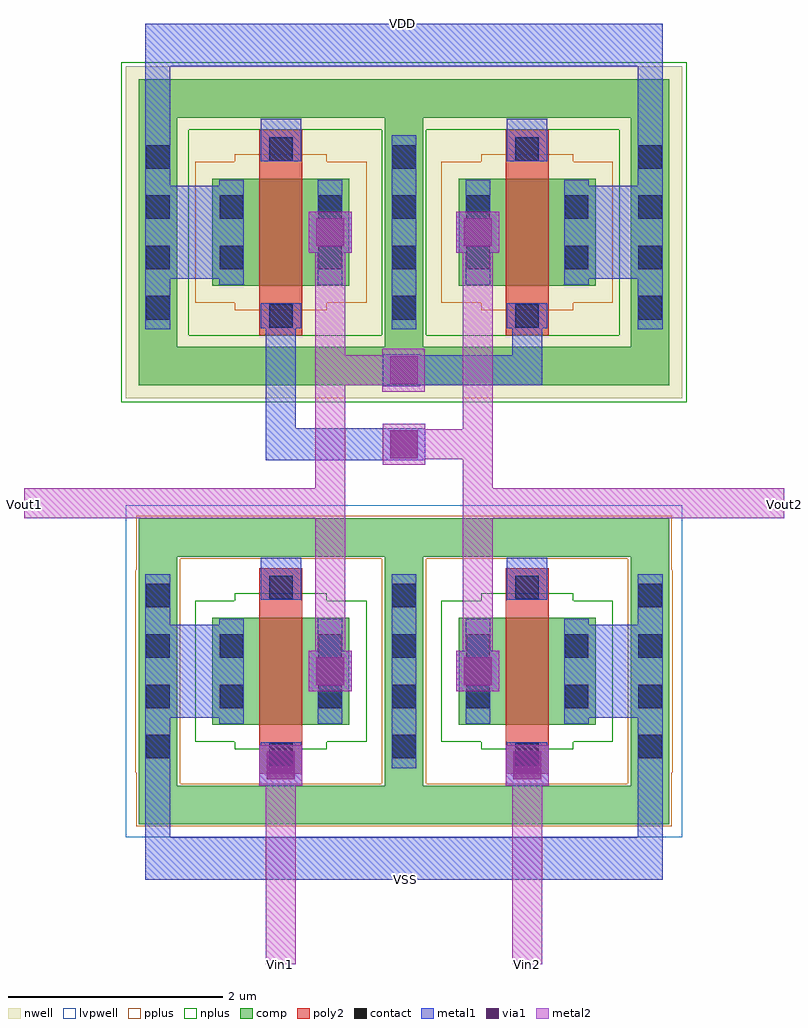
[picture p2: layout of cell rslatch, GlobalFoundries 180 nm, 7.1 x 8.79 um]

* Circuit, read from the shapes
.subckt rslatch VDD VSS Vin1 Vin2 Vout1 Vout2
XM1 Vout1 Vin1 VSS VSS nfet_03v3 w=1u l=0.4u
XM2 VSS Vin2 Vout2 VSS nfet_03v3 w=1u l=0.4u
XM3 Vout1 Vout2 VDD VDD pfet_03v3 w=1u l=0.4u
XM4 VDD Vout1 Vout2 VDD pfet_03v3 w=1u l=0.4u
.ends

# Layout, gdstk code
import gdstk
lib = gdstk.Library(unit=1e-6, precision=1e-09)
def R(c, l, rs):  # rectangles x0, y0, x1, y1
    for r in rs: c.add(gdstk.rectangle(r[:2], r[2:], *l))
def A(c, l, x, y, w, h, nx, ny, dx, dy):  # array of equal rectangles
    R(c, l, [(x+i*dx, y+j*dy, x+i*dx+w, y+j*dy+h) for i in range(nx) for j in range(ny)])
nwell = (21, 0)
comp = (22, 0)
poly2 = (30, 0)
pplus = (31, 0)
nplus = (32, 0)
contact = (33, 0)
metal1 = (34, 0)
via1 = (35, 0)
metal2 = (36, 0)
lvpwell = (204, 0)

rslatch = lib.new_cell('rslatch')
R(rslatch, nwell, [(10.3,-5.6,15.5,-2.5)])
A(rslatch, comp, 10.42, -9.22, 0.36, 2.14, 3, 2, 2.3, 4.1)
R(rslatch, comp, [(10.42,-9.58,15.38,-9.22), (11.11,-8.65,12.39,-7.65), (13.41,-8.65,14.69,-7.65), (10.42,-7.08,15.38,-6.72), (10.42,-5.48,15.38,-5.12), (11.11,-4.55,12.39,-3.55), (13.41,-4.55,14.69,-3.55), (10.42,-2.98,15.38,-2.62)])
R(rslatch, poly2, [(11.55,-9.11,11.95,-7.19), (13.85,-9.11,14.25,-7.19), (11.55,-5.01,11.95,-3.09), (13.85,-5.01,14.25,-3.09)])
R(rslatch, pplus, [(10.4,-9.6,15.4,-9.2), (10.4,-9.2,10.81,-9.095), (12.69,-9.2,13.11,-7.1), (14.99,-9.2,15.4,-9.095), (10.39,-9.095,10.81,-7.205), (14.99,-9.095,15.41,-7.205), (10.4,-7.205,10.81,-7.1), (14.99,-7.205,15.4,-7.1), (10.4,-7.1,15.4,-6.7), (11.32,-4.78,12.18,-4.71), (13.62,-4.78,14.48,-4.71), (10.95,-4.71,12.55,-3.39), (13.25,-4.71,14.85,-3.39), (11.32,-3.39,12.18,-3.32), (13.62,-3.39,14.48,-3.32)])
R(rslatch, nplus, [(11.32,-8.88,12.18,-8.81), (13.62,-8.88,14.48,-8.81), (10.95,-8.81,12.55,-7.49), (13.25,-8.81,14.85,-7.49), (11.32,-7.49,12.18,-7.42), (13.62,-7.49,14.48,-7.42), (10.26,-5.64,15.54,-5.01), (10.26,-5.01,10.89,-3.09), (12.69,-5.01,13.11,-3.09), (14.91,-5.01,15.54,-3.09), (10.26,-3.09,15.54,-2.46)])
A(rslatch, contact, 10.49, -8.965, 0.22, 0.22, 3, 2, 2.3, 1.41)
A(rslatch, contact, 12.1, -8.495, 0.22, 0.22, 3, 2, 0.69, 0.47)
A(rslatch, contact, 10.49, -4.865, 0.22, 0.22, 3, 2, 2.3, 1.41)
A(rslatch, contact, 12.1, -4.395, 0.22, 0.22, 3, 2, 0.69, 0.47)
R(rslatch, contact, [(11.64,-9.04,11.86,-8.82), (13.94,-9.04,14.16,-8.82), (10.49,-8.495,10.71,-8.275), (11.18,-8.495,11.4,-8.275), (14.4,-8.495,14.62,-8.275), (15.09,-8.495,15.31,-8.275), (10.49,-8.025,10.71,-7.805), (11.18,-8.025,11.4,-7.805), (14.4,-8.025,14.62,-7.805), (15.09,-8.025,15.31,-7.805), (11.64,-7.48,11.86,-7.26), (13.94,-7.48,14.16,-7.26), (11.64,-4.94,11.86,-4.72), (13.94,-4.94,14.16,-4.72), (10.49,-4.395,10.71,-4.175), (11.18,-4.395,11.4,-4.175), (14.4,-4.395,14.62,-4.175), (15.09,-4.395,15.31,-4.175), (10.49,-3.925,10.71,-3.705), (11.18,-3.925,11.4,-3.705), (14.4,-3.925,14.62,-3.705), (15.09,-3.925,15.31,-3.705), (11.64,-3.38,11.86,-3.16), (13.94,-3.38,14.16,-3.16)])
R(rslatch, metal1, [(10.485,-10.1,15.315,-9.7), (10.485,-9.7,10.715,-8.585), (15.085,-9.7,15.315,-8.585), (11.55,-9.22,11.95,-8.84), (13.85,-9.22,14.25,-8.84), (12.785,-9.055,13.015,-7.245), (11.56,-8.84,11.94,-8.815), (13.86,-8.84,14.24,-8.815), (11.175,-8.64,11.405,-8.585), (12.095,-8.64,12.325,-8.34), (13.475,-8.64,13.705,-8.34), (14.395,-8.64,14.625,-8.585), (10.485,-8.585,11.405,-7.715), (14.395,-8.585,15.315,-7.715), (12.01,-8.34,12.41,-7.96), (13.39,-8.34,13.79,-7.96), (12.095,-7.96,12.325,-7.66), (13.475,-7.96,13.705,-7.66), (10.485,-7.715,10.715,-7.245), (11.175,-7.715,11.405,-7.66), (14.395,-7.715,14.625,-7.66), (15.085,-7.715,15.315,-7.245), (11.56,-7.485,11.94,-7.09), (13.86,-7.485,14.24,-7.09), (11.61,-6.18,13.1,-5.88), (11.61,-5.88,11.89,-4.945), (12.7,-5.49,13.05,-5.48), (12.7,-5.48,14.19,-5.2), (12.7,-5.2,13.05,-5.19), (13.91,-5.2,14.19,-4.945), (10.485,-4.955,10.715,-4.485), (12.785,-4.955,13.015,-3.145), (15.085,-4.955,15.315,-4.485), (11.56,-4.945,11.94,-4.715), (13.86,-4.945,14.24,-4.715), (11.175,-4.54,11.405,-4.485), (12.095,-4.54,12.325,-4.24), (13.475,-4.54,13.705,-4.24), (14.395,-4.54,14.625,-4.485), (10.485,-4.485,11.405,-3.615), (14.395,-4.485,15.315,-3.615), (12.01,-4.24,12.41,-3.86), (13.39,-4.24,13.79,-3.86), (12.095,-3.86,12.325,-3.56), (13.475,-3.86,13.705,-3.56), (10.485,-3.615,10.715,-2.5), (11.175,-3.615,11.405,-3.56), (14.395,-3.615,14.625,-3.56), (15.085,-3.615,15.315,-2.5), (11.56,-3.385,11.94,-2.99), (13.86,-3.385,14.24,-2.99), (10.485,-2.5,15.315,-2.1)])
R(rslatch, via1, [(11.62,-9.16,11.88,-8.9), (13.92,-9.16,14.18,-8.9), (12.08,-8.28,12.34,-8.02), (13.46,-8.28,13.72,-8.02), (12.77,-6.16,13.03,-5.9), (12.77,-5.47,13.03,-5.21), (12.08,-4.18,12.34,-3.92), (13.46,-4.18,13.72,-3.92)])
R(rslatch, metal2, [(11.61,-10.89,11.89,-9.22), (13.91,-10.89,14.19,-9.22), (11.55,-9.22,11.95,-8.84), (13.85,-9.22,14.25,-8.84), (12.01,-8.34,12.41,-7.96), (13.39,-8.34,13.79,-7.96), (12.07,-7.96,12.35,-6.72), (13.45,-7.96,13.73,-6.72), (9.35,-6.72,12.35,-6.44), (13.45,-6.72,16.45,-6.44), (12.07,-6.44,12.35,-5.48), (13.45,-6.44,13.73,-6.17), (12.7,-6.22,13.1,-6.17), (12.7,-6.17,13.73,-5.89), (12.7,-5.89,13.1,-5.84), (13.45,-5.89,13.73,-4.24), (12.695,-5.54,13.095,-5.48), (12.07,-5.48,13.095,-5.2), (12.07,-5.2,12.35,-4.24), (12.695,-5.2,13.095,-5.14), (12.01,-4.24,12.41,-3.86), (13.39,-4.24,13.79,-3.86)])
R(rslatch, lvpwell, [(10.3,-9.7,15.5,-6.6)])
rslatch.add(gdstk.Label('VDD', (12.89,-2.1), layer=34, texttype=10))
rslatch.add(gdstk.Label('VSS', (12.915,-10.1), layer=34, texttype=10))
rslatch.add(gdstk.Label('Vout1', (9.35,-6.59), layer=36, texttype=10))
rslatch.add(gdstk.Label('Vout2', (16.45,-6.59), layer=36, texttype=10))
rslatch.add(gdstk.Label('Vin1', (11.75,-10.89), layer=36, texttype=10))
rslatch.add(gdstk.Label('Vin2', (14.055,-10.89), layer=36, texttype=10))

lib.write_gds('rslatch.gds')
